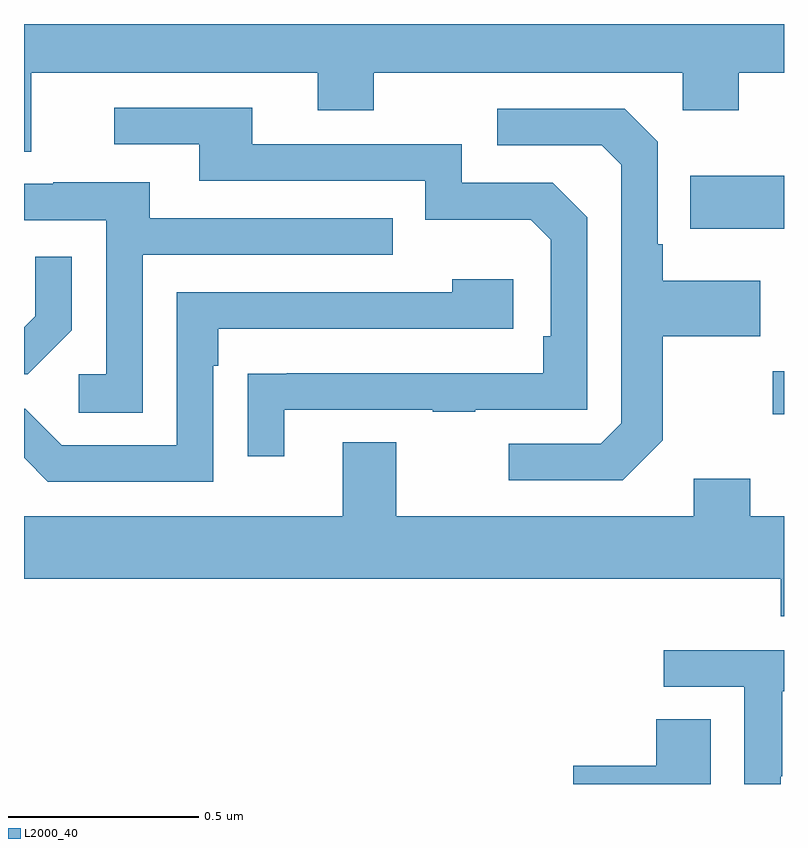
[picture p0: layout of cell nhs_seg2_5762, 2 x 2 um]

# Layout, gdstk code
import gdstk
lib = gdstk.Library(unit=1e-6, precision=1e-09)
def R(c, l, rs):  # rectangles x0, y0, x1, y1
    for r in rs: c.add(gdstk.rectangle(r[:2], r[2:], *l))
def P(c, l, *ps):  # polygons
    for p in ps: c.add(gdstk.Polygon(p, *l))
L2000_40 = (2000, 40)

nhs_seg2_5762 = lib.new_cell('nhs_seg2_5762')
R(nhs_seg2_5762, L2000_40, [(184.971,610.773,185,610.886), (184.753,611.261,185,611.401)])
P(nhs_seg2_5762, L2000_40, [(183.019,611.672),(183.773,611.672),(183.773,611.573),(183.921,611.573),(183.921,611.672),(184.734,611.672),(184.734,611.573),(184.881,611.573),(184.881,611.672),(185,611.672),(185,611.8),(183,611.8),(183,611.464),(183.019,611.464)],
  [(183.685,610.785),(184.075,610.785),(184.075,610.78),(184.187,610.78),(184.187,610.785),(184.482,610.785),(184.482,611.292),(184.392,611.382),(184.152,611.382),(184.152,611.484),(183.601,611.484),(183.601,611.58),(183.237,611.58),(183.237,611.484),(183.461,611.484),(183.461,611.388),(184.056,611.388),(184.056,611.285),(184.333,611.285),(184.386,611.232),(184.386,610.978),(184.366,610.978),(184.366,610.881),(183.691,610.881),(183.691,610.88),(183.589,610.88),(183.589,610.662),(183.685,610.662)],
  [(184.681,610.705),(184.681,610.978),(184.937,610.978),(184.937,611.125),(184.681,611.125),(184.681,611.221),(184.668,611.221),(184.668,611.49),(184.581,611.577),(184.245,611.577),(184.245,611.481),(184.521,611.481),(184.572,611.43),(184.572,610.749),(184.518,610.695),(184.275,610.695),(184.275,610.599),(184.575,610.599)],
  [(183.312,611.193),(183.971,611.193),(183.971,611.289),(183.331,611.289),(183.331,611.383),(183.077,611.383),(183.077,611.379),(183,611.379),(183,611.283),(183.216,611.283),(183.216,610.878),(183.144,610.878),(183.144,610.777),(183.312,610.777)],
  [(183.126,610.994),(183.126,611.188),(183.029,611.188),(183.029,611.031),(183,611.002),(183,610.878),(183.01,610.878)],
  [(183.498,610.901),(183.511,610.901),(183.511,610.998),(184.288,610.998),(184.288,611.128),(184.127,611.128),(184.127,611.094),(183.402,611.094),(183.402,610.692),(183.099,610.692),(183.003,610.788),(183,610.788),(183,610.659),(183.063,610.596),(183.498,610.596)],
  [(185,610.504),(184.911,610.504),(184.911,610.603),(184.763,610.603),(184.763,610.504),(183.979,610.504),(183.979,610.699),(183.839,610.699),(183.839,610.504),(183,610.504),(183,610.34),(184.991,610.34),(184.991,610.241),(185,610.241)],
  [(184.992,609.82),(184.995,609.82),(184.995,610.044),(185,610.044),(185,610.152),(184.683,610.152),(184.683,610.056),(184.896,610.056),(184.896,609.8),(184.992,609.8)],
  [(184.807,609.971),(184.664,609.971),(184.664,609.848),(184.446,609.848),(184.446,609.8),(184.807,609.8)])

lib.write_gds('nhs_seg2_5762.gds')
